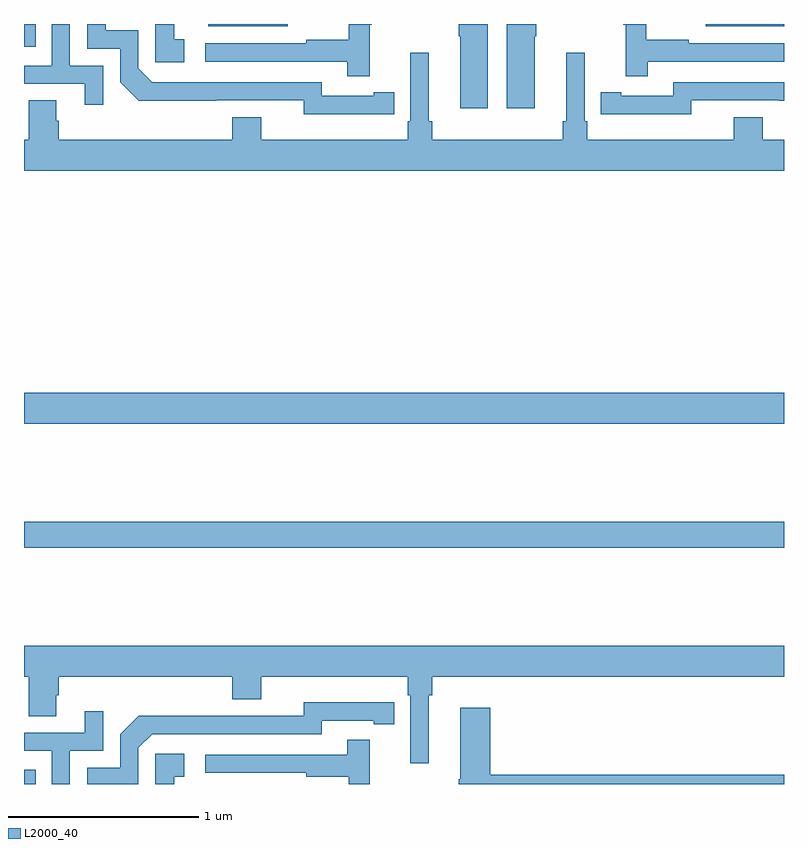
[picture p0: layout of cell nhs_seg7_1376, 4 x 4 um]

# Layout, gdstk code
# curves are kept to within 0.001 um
import gdstk
lib = gdstk.Library(unit=1e-6, precision=1e-09)
def R(c, l, rs):  # rectangles x0, y0, x1, y1
    for r in rs: c.add(gdstk.rectangle(r[:2], r[2:], *l))
def P(c, l, *ps):  # polygons
    for p in ps: c.add(gdstk.Polygon(p, *l))
L2000_40 = (2000, 40)

nhs_seg7_1376 = lib.new_cell('nhs_seg7_1376')
R(nhs_seg7_1376, L2000_40, [(205,1052,205.061,1052.076), (205,1053.244,209,1053.38), (205,1053.896,209,1054.06), (205,1055.88,205.061,1056), (205.97,1055.987,206.389,1056), (208.587,1055.987,209,1056)])
P(nhs_seg7_1376, L2000_40, [(206.84,1055.526),(206.948,1055.526),(206.948,1055.642),(206.84,1055.642),(206.84,1055.622),(206.568,1055.622),(206.568,1055.694),(205.674,1055.694),(205.602,1055.766),(205.602,1055.967),(205.429,1055.967),(205.429,1056),(205.332,1056),(205.332,1055.871),(205.506,1055.871),(205.506,1055.694),(205.604,1055.597),(206.472,1055.598),(206.472,1055.525)],
  [(207.442,1056),(207.289,1056),(207.289,1055.935),(207.296,1055.935),(207.296,1055.556),(207.442,1055.556)],
  [(205.416,1055.781),(205.242,1055.781),(205.242,1056),(205.146,1056),(205.146,1055.781),(205,1055.781),(205,1055.685),(205.319,1055.685),(205.319,1055.574),(205.416,1055.574)],
  [(208.283,1055.802),(209,1055.802),(209,1055.898),(208.499,1055.898),(208.499,1055.918),(208.276,1055.918),(208.276,1056),(208.155,1056),(208.155,1055.995),(208.166,1055.995),(208.166,1055.724),(208.283,1055.724)],
  [(207.688,1055.935),(207.696,1055.935),(207.696,1056),(207.542,1056),(207.542,1055.556),(207.688,1055.556)],
  [(205.843,1055.919),(205.79,1055.919),(205.79,1056),(205.692,1056),(205.692,1055.799),(205.843,1055.799)],
  [(206.819,1055.995),(206.83,1055.995),(206.83,1056),(206.709,1056),(206.709,1055.918),(206.485,1055.918),(206.485,1055.898),(205.953,1055.898),(205.953,1055.802),(206.701,1055.802),(206.701,1055.724),(206.819,1055.724)],
  [(209,1055.392),(208.889,1055.392),(208.889,1055.509),(208.736,1055.509),(208.736,1055.392),(207.965,1055.392),(207.965,1055.488),(207.951,1055.488),(207.951,1055.848),(207.854,1055.848),(207.854,1055.488),(207.835,1055.488),(207.835,1055.392),(207.149,1055.392),(207.149,1055.488),(207.13,1055.488),(207.13,1055.848),(207.033,1055.848),(207.033,1055.488),(207.02,1055.488),(207.02,1055.392),(206.248,1055.392),(206.248,1055.509),(206.096,1055.509),(206.096,1055.392),(205.184,1055.392),(205.184,1055.49),(205.171,1055.49),(205.171,1055.6),(205.024,1055.6),(205.024,1055.392),(205,1055.392),(205,1055.228),(209,1055.228)],
  [(208.512,1055.598),(208.972,1055.598),(208.972,1055.597),(209,1055.597),(209,1055.694),(208.416,1055.694),(208.416,1055.622),(208.144,1055.622),(208.144,1055.642),(208.036,1055.642),(208.036,1055.526),(208.144,1055.526),(208.144,1055.525),(208.512,1055.525)],
  [(207.13,1052.468),(207.149,1052.468),(207.149,1052.564),(209,1052.564),(209,1052.728),(205,1052.728),(205,1052.564),(205.024,1052.564),(205.024,1052.356),(205.171,1052.356),(205.171,1052.466),(205.184,1052.466),(205.184,1052.564),(206.096,1052.564),(206.096,1052.447),(206.248,1052.447),(206.248,1052.564),(207.02,1052.564),(207.02,1052.468),(207.033,1052.468),(207.033,1052.109),(207.13,1052.109)],
  [(205.602,1052.19),(205.674,1052.262),(206.568,1052.262),(206.568,1052.334),(206.84,1052.334),(206.84,1052.314),(206.948,1052.314),(206.948,1052.43),(206.472,1052.431),(206.472,1052.358),(206.012,1052.358),(206.012,1052.36),(205.604,1052.36),(205.506,1052.262),(205.506,1052.085),(205.332,1052.085),(205.332,1052),(205.602,1052)],
  [(209,1052.048),(207.455,1052.048),(207.455,1052.401),(207.296,1052.401),(207.296,1052.025),(207.289,1052.025),(207.289,1052),(209,1052)],
  [(205.242,1052.175),(205.416,1052.175),(205.416,1052.383),(205.319,1052.383),(205.319,1052.271),(205,1052.271),(205,1052.175),(205.146,1052.175),(205.146,1052),(205.242,1052)],
  [(206.819,1052.233),(206.701,1052.233),(206.701,1052.154),(205.953,1052.154),(205.953,1052.058),(206.485,1052.058),(206.485,1052.038),(206.709,1052.038),(206.709,1052),(206.819,1052)],
  [(205.79,1052.037),(205.843,1052.037),(205.843,1052.158),(205.692,1052.158),(205.692,1052),(205.79,1052)])

lib.write_gds('nhs_seg7_1376.gds')
